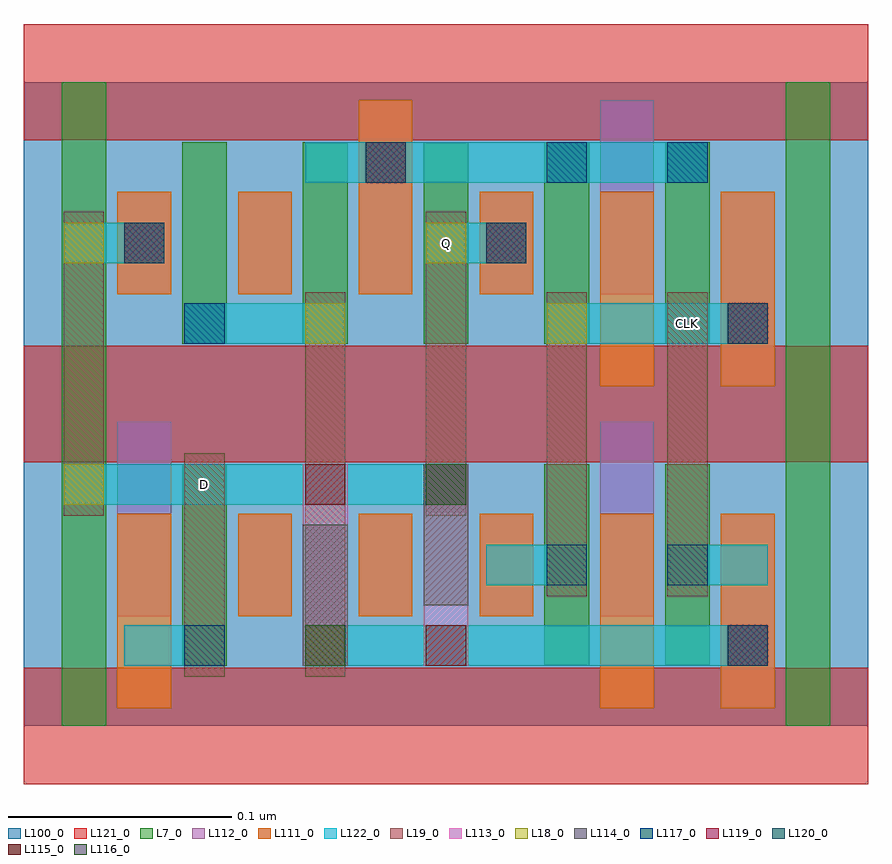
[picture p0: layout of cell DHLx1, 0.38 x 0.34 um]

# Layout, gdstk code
import gdstk
lib = gdstk.Library(unit=1e-6, precision=2.5e-10)
def R(c, l, rs):  # rectangles x0, y0, x1, y1
    for r in rs: c.add(gdstk.rectangle(r[:2], r[2:], *l))
def A(c, l, x, y, w, h, nx, ny, dx, dy):  # array of equal rectangles
    R(c, l, [(x+i*dx, y+j*dy, x+i*dx+w, y+j*dy+h) for i in range(nx) for j in range(ny)])
L7_0 = (7, 0)
L18_0 = (18, 0)
L19_0 = (19, 0)
L100_0 = (100, 0)
L111_0 = (111, 0)
L112_0 = (112, 0)
L113_0 = (113, 0)
L114_0 = (114, 0)
L115_0 = (115, 0)
L116_0 = (116, 0)
L117_0 = (117, 0)
L119_0 = (119, 0)
L120_0 = (120, 0)
L121_0 = (121, 0)
L122_0 = (122, 0)

dhlx1 = lib.new_cell('DHLx1')
A(dhlx1, L7_0, 0.071, 0.171, 0.02, 0.09, 5, 1, 0.054, 0)
R(dhlx1, L7_0, [(0.017,0,0.037,0.144), (0.341,0,0.361,0.144), (0.071,0.027,0.091,0.117), (0.233,0.027,0.253,0.117), (0.287,0.027,0.307,0.117), (0.017,0.144,0.037,0.288), (0.341,0.144,0.361,0.288)])
R(dhlx1, L18_0, [(0.072,0.027,0.09,0.045), (0.126,0.027,0.144,0.045), (0.234,0.063,0.252,0.081), (0.288,0.063,0.306,0.081), (0.018,0.099,0.036,0.117), (0.126,0.171,0.144,0.189), (0.234,0.171,0.252,0.189), (0.018,0.207,0.036,0.225), (0.18,0.207,0.198,0.225)])
R(dhlx1, L19_0, [(0.072,0.022,0.09,0.122), (0.126,0.022,0.144,0.194), (0.234,0.058,0.252,0.194), (0.288,0.058,0.306,0.194), (0.018,0.094,0.036,0.23), (0.18,0.094,0.198,0.23)])
R(dhlx1, L100_0, [(0,0,0.378,0.288)])
A(dhlx1, L111_0, 0.096, 0.049, 0.024, 0.046, 3, 1, 0.054, 0)
R(dhlx1, L111_0, [(0.042,0.008,0.066,0.095), (0.258,0.008,0.282,0.095), (0.312,0.008,0.336,0.095), (0.258,0.152,0.282,0.239), (0.312,0.152,0.336,0.239), (0.042,0.193,0.066,0.239), (0.096,0.193,0.12,0.239), (0.15,0.193,0.174,0.28), (0.204,0.193,0.228,0.239)])
A(dhlx1, L112_0, 0.096, 0.049, 0.024, 0.046, 3, 1, 0.054, 0)
R(dhlx1, L112_0, [(0.312,0.008,0.336,0.095), (0.042,0.049,0.066,0.136), (0.258,0.049,0.282,0.136), (0.312,0.152,0.336,0.239), (0.042,0.193,0.066,0.239), (0.096,0.193,0.12,0.239), (0.15,0.193,0.174,0.28), (0.204,0.193,0.228,0.239), (0.258,0.193,0.282,0.28)])
R(dhlx1, L113_0, [(0.125,0.027,0.145,0.117), (0.179,0.027,0.199,0.117)])
R(dhlx1, L114_0, [(0.125,0.027,0.145,0.09), (0.179,0.054,0.199,0.117)])
R(dhlx1, L115_0, [(0.18,0.027,0.198,0.045), (0.126,0.099,0.144,0.117)])
R(dhlx1, L116_0, [(0.126,0.027,0.144,0.045), (0.18,0.099,0.198,0.117)])
R(dhlx1, L117_0, [(0.072,0.027,0.09,0.045), (0.234,0.063,0.252,0.081), (0.288,0.063,0.306,0.081), (0.072,0.171,0.09,0.189), (0.234,0.243,0.252,0.261), (0.288,0.243,0.306,0.261)])
R(dhlx1, L119_0, [(0.315,0.027,0.333,0.045), (0.315,0.171,0.333,0.189), (0.045,0.207,0.063,0.225), (0.207,0.207,0.225,0.225), (0.153,0.243,0.171,0.261)])
R(dhlx1, L120_0, [(0.315,0.027,0.333,0.045), (0.315,0.171,0.333,0.189), (0.045,0.207,0.063,0.225), (0.207,0.207,0.225,0.225), (0.153,0.243,0.171,0.261)])
A(dhlx1, L121_0, 0, -0.026, 0.378, 0.052, 1, 3, 0, 0.144)
R(dhlx1, L122_0, [(0.045,0.027,0.09,0.045), (0.126,0.027,0.333,0.045), (0.207,0.063,0.252,0.081), (0.288,0.063,0.333,0.081), (0.018,0.099,0.198,0.117), (0.072,0.171,0.144,0.189), (0.234,0.171,0.333,0.189), (0.018,0.207,0.063,0.225), (0.18,0.207,0.225,0.225), (0.126,0.243,0.306,0.261)])
dhlx1.add(gdstk.Label('Q', (0.189,0.216), layer=19, texttype=251))
dhlx1.add(gdstk.Label('D', (0.081,0.108), layer=19, texttype=251))
dhlx1.add(gdstk.Label('CLK', (0.297,0.18), layer=19, texttype=251))

lib.write_gds('DHLx1.gds')
